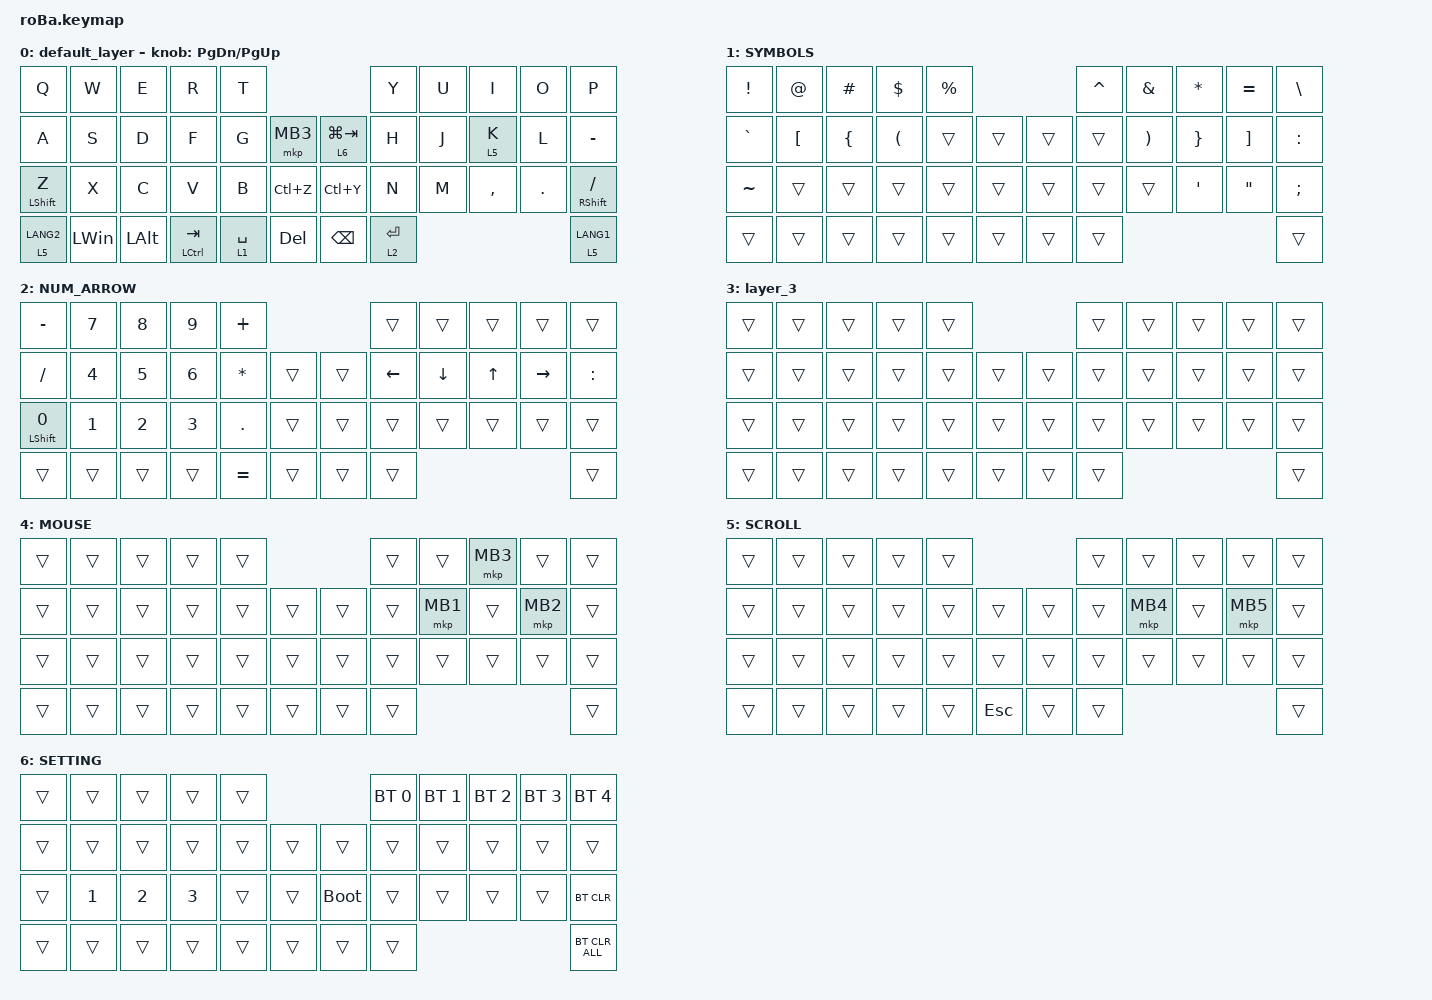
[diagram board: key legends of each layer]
#include <behaviors.dtsi>
#include <dt-bindings/zmk/bt.h>
#include <dt-bindings/zmk/keys.h>
#include <dt-bindings/zmk/pointing.h>

#define ZMK_MOUSE_POINTING_SCRL_VAL 100
#define MOUSE 4
#define SCROLL 5
#define NUM 6

&mt {
    flavor = "tap-preferred";
    tapping-term-ms = <225>;
    quick-tap-ms = <200>;
    require-prior-idle-ms = <150>;
};

&lt {
    flavor = "balanced";
    tapping-term-ms = <175>;
    quick-tap-ms = <200>;
};

/ {
    combos { compatible = "zmk,combos"; };

    macros {
        to_layer_0: to_layer_0 {
            compatible = "zmk,behavior-macro-one-param";
            #binding-cells = <1>;
            bindings = <&to 0 &macro_param_1to1 &kp MACRO_PLACEHOLDER>;
            label = "TO_LAYER_0";
        };
    };

    behaviors {
        lt_to_layer_0: lt_to_layer_0 {
            compatible = "zmk,behavior-hold-tap";
            label = "LAYER_TAP_TO_0";
            bindings = <&mo>, <&to_layer_0>;

            #binding-cells = <2>;
            tapping-term-ms = <200>;
        };

        scroll_up_down: behavior_sensor_rotate_mouse_wheel_up_down {
            compatible = "zmk,behavior-sensor-rotate";
            #sensor-binding-cells = <0>;
            bindings = <&msc SCRL_UP>, <&msc SCRL_DOWN>;

            tap-ms = <10>;
        };
    };

    keymap {
        compatible = "zmk,keymap";

        default_layer {
            bindings = <
&kp Q             &kp W         &kp E         &kp R          &kp T                                      &kp Y        &kp U  &kp I      &kp O       &kp P
&kp A             &kp S         &kp D         &kp F          &kp G        &mkp MB3       &lt 6 LG(TAB)  &kp H        &kp J  &lt 5 K    &kp L       &kp MINUS
&mt LEFT_SHIFT Z  &kp X         &kp C         &kp V          &kp B        &kp LC(Z)      &kp LC(Y)      &kp N        &kp M  &kp COMMA  &kp PERIOD  &mt RIGHT_SHIFT SLASH
&lt 5 LANG2       &kp LEFT_WIN  &kp LEFT_ALT  &mt LCTRL TAB  &lt 1 SPACE  &kp DEL        &kp BACKSPACE  &lt 2 ENTER                                &lt 5 LANG1
            >;

            sensor-bindings = <&inc_dec_kp PAGE_DOWN PAGE_UP>;
        };

        SYMBOLS {
            bindings = <
&kp EXCLAMATION  &kp AT_SIGN       &kp HASH        &kp DOLLAR            &kp PERCENT                      &kp CARET  &kp AMPERSAND          &kp ASTERISK      &kp EQUAL          &kp BACKSLASH
&kp GRAVE        &kp LEFT_BRACKET  &kp LEFT_BRACE  &kp LEFT_PARENTHESIS  &trans       &trans      &trans  &trans     &kp RIGHT_PARENTHESIS  &kp RIGHT_BRACE   &kp RIGHT_BRACKET  &kp COLON
&kp TILDE        &trans            &trans          &trans                &trans       &trans      &trans  &trans     &trans                 &kp SINGLE_QUOTE  &kp DOUBLE_QUOTES  &kp SEMICOLON
&trans           &trans            &trans          &trans                &trans       &trans      &trans  &trans                                                                 &trans
            >;
        };

        NUM_ARROW {
            bindings = <
&kp MINUS          &kp N7        &kp N8        &kp N9        &kp PLUS                          &trans          &trans          &trans        &trans           &trans
&kp SLASH          &kp NUMBER_4  &kp N5        &kp NUMBER_6  &kp ASTERISK  &trans      &trans  &kp LEFT_ARROW  &kp DOWN_ARROW  &kp UP_ARROW  &kp RIGHT_ARROW  &kp COLON
&mt LEFT_SHIFT N0  &kp NUMBER_1  &kp NUMBER_2  &kp NUMBER_3  &kp PERIOD    &trans      &trans  &trans          &trans          &trans        &trans           &trans
&trans             &trans        &trans        &trans        &kp EQUAL     &trans      &trans  &trans                                                         &trans
            >;
        };

        layer_3 {
            bindings = <
&trans  &trans  &trans  &trans  &trans                      &trans  &trans  &trans  &trans  &trans
&trans  &trans  &trans  &trans  &trans  &trans      &trans  &trans  &trans  &trans  &trans  &trans
&trans  &trans  &trans  &trans  &trans  &trans      &trans  &trans  &trans  &trans  &trans  &trans
&trans  &trans  &trans  &trans  &trans  &trans      &trans  &trans                          &trans
            >;
        };

        MOUSE {
            bindings = <
&trans  &trans  &trans  &trans  &trans                      &trans  &trans    &mkp MB3  &trans    &trans
&trans  &trans  &trans  &trans  &trans  &trans      &trans  &trans  &mkp MB1  &trans    &mkp MB2  &trans
&trans  &trans  &trans  &trans  &trans  &trans      &trans  &trans  &trans    &trans    &trans    &trans
&trans  &trans  &trans  &trans  &trans  &trans      &trans  &trans                                &trans
            >;
        };

        SCROLL {
            bindings = <
&trans  &trans  &trans  &trans  &trans                       &trans  &trans    &trans  &trans    &trans
&trans  &trans  &trans  &trans  &trans  &trans       &trans  &trans  &mkp MB4  &trans  &mkp MB5  &trans
&trans  &trans  &trans  &trans  &trans  &trans       &trans  &trans  &trans    &trans  &trans    &trans
&trans  &trans  &trans  &trans  &trans  &kp ESC      &trans  &trans                              &trans
            >;
        };

        SETTING {
            bindings = <
&trans  &trans        &trans        &trans        &trans                           &bt BT_SEL 0  &bt BT_SEL 1  &bt BT_SEL 2  &bt BT_SEL 3  &bt BT_SEL 4
&trans  &trans        &trans        &trans        &trans  &trans      &trans       &trans        &trans        &trans        &trans        &trans
&trans  &kp NUMBER_1  &kp NUMBER_2  &kp NUMBER_3  &trans  &trans      &bootloader  &trans        &trans        &trans        &trans        &bt BT_CLR
&trans  &trans        &trans        &trans        &trans  &trans      &trans       &trans                                                  &bt BT_CLR_ALL
            >;
        };
    };
};
